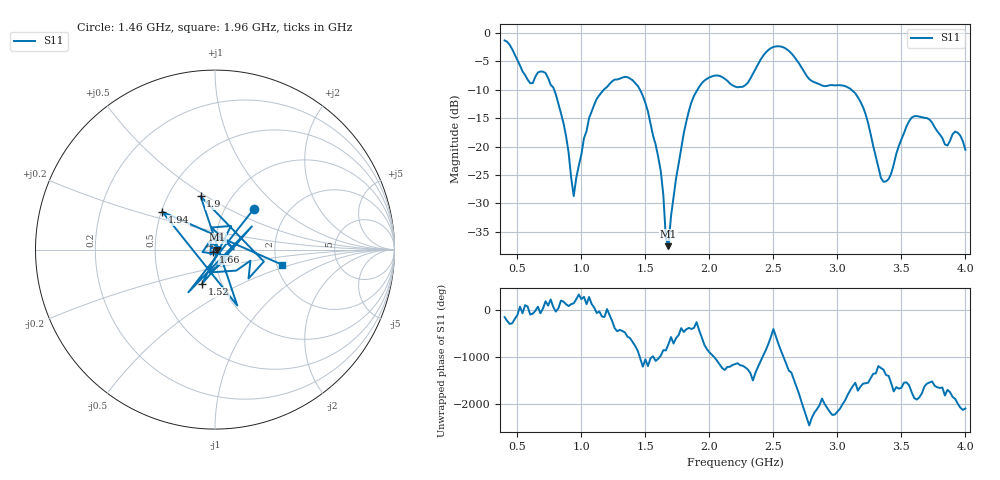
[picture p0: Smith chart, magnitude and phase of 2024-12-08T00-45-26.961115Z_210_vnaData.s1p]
!Created with skrf (http://scikit-rf.org).
# Hz S RI R 50.0
!freq ReS11 ImS11
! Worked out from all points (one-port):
!   181 points, 400 MHz to 4 GHz, reference 50 ohm
!   lowest |S11| = -37.5 dB at 1.68 GHz (marker M1), VSWR 1.03, Z = 51.3 - j0.109 ohm
!   |S11| at or under -10 dB: 787.2 MHz to 1.174 GHz (387 MHz wide, 39.5 % of centre); 1.458 GHz to 1.906 GHz (447.8 MHz wide, 26.6 % of centre); 3.111 GHz to end of sweep
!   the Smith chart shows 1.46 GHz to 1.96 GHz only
!   S11 on the Smith chart (normalised r, x): 1.46 GHz: 1.36, +0.68; 1.52 GHz: 0.81, -0.32; 1.66 GHz: 0.98, -0.02; 1.9 GHz: 0.72, +0.47; 1.94 GHz: 0.51, +0.25; 1.96 GHz: 2.13, -0.42
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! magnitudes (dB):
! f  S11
! 400 MHz  -1.3
! 600 MHz  -8.8
! 720 MHz  -7.0
! 860 MHz  -15.9
! 940 MHz  -28.7
! 1.1 GHz  -12.6
! 1.3 GHz  -8.0
! 1.46 GHz  -10.1
! 1.52 GHz  -13.8
! 1.62 GHz  -24.3
! 1.66 GHz  -36.2
! 1.68 GHz  -37.5
! 1.76 GHz  -23.0
! 1.9 GHz  -10.2
! 1.94 GHz  -8.8
! 1.96 GHz  -8.4
! 2.2 GHz  -9.4
! 2.48 GHz  -2.7
! 2.66 GHz  -4.1
! 2.8 GHz  -8.4
! 3.1 GHz  -9.8
! 3.22 GHz  -14.3
! 3.36 GHz  -26.2
! 3.56 GHz  -15.5
! 3.72 GHz  -15.2
! 3.86 GHz  -19.8
! 3.94 GHz  -17.6
! 4 GHz  -20.6
